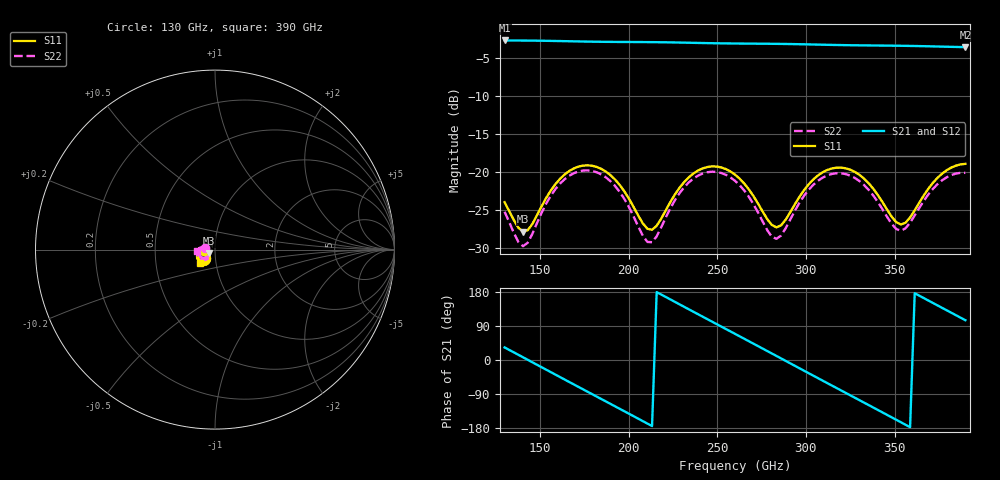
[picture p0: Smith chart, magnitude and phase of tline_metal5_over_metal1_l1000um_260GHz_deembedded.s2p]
! Created with skrf 2.0.1 (http://scikit-rf.org).
# GHz S DB R 50.0
!freq dBS11 angS11 dBS21 angS21 dBS12 angS12 dBS22 angS22
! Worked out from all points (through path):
!   101 points, 130 GHz to 390 GHz, reference 50 ohm
!   highest |S21| = -2.76 dB at 130 GHz (marker M1); lowest = -3.6 dB at 390 GHz (marker M2)
!   group delay of S21, straight-line fit = 6.92 ps
!   lowest |S11| = -27.8 dB at 140.4 GHz (marker M3), VSWR 1.08, Z = 46.5 - j1.85 ohm
!   |S11| at or under -10 dB: start of sweep to end of sweep
!   |S22| runs from -29.7 to -19.8 dB; largest |S21 - S12| = 8.3e-14
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130  -23.98 -174.9  -2.76 33.1  -2.76 33.1  -25.22 173.2
140.4  -27.84 -150.8  -2.78 7.2  -2.78 7.2  -29.74 -157.8
156  -22.46 -121.9  -2.82 -31.9  -2.82 -31.9  -23.14 -129.4
174.2  -19.17 -145.5  -2.90 -77.3  -2.90 -77.3  -19.82 -157.3
192.4  -21.02 -172.0  -2.96 -122.4  -2.96 -122.4  -21.87 172.9
210.6  -27.46 -156.9  -2.98 -167.8  -2.98 -167.8  -29.18 -170.8
218.4  -26.11 -129.2  -3.00 172.6  -3.00 172.6  -27.25 -140.0
228.8  -22.05 -124.3  -3.04 146.6  -3.04 146.6  -22.75 -137.9
241.8  -19.53 -139.5  -3.10 114.2  -3.10 114.2  -20.20 -156.1
260  -20.35 -165.6  -3.16 69.0  -3.16 69.0  -21.17 174.6
273  -24.15 -172.6  -3.19 36.6  -3.19 36.6  -25.32 165.8
283.4  -27.27 -147.6  -3.21 10.7  -3.21 10.7  -28.77 -166.1
293.8  -24.23 -122.2  -3.25 -15.4  -3.25 -15.4  -25.08 -140.6
304.2  -20.98 -125.8  -3.30 -41.4  -3.30 -41.4  -21.69 -146.8
314.6  -19.55 -138.6  -3.35 -67.2  -3.35 -67.2  -20.27 -161.8
325  -19.71 -153.1  -3.39 -93.1  -3.39 -93.1  -20.49 -177.9
335.4  -21.48 -164.4  -3.42 -118.9  -3.42 -118.9  -22.34 169.4
348.4  -25.87 -158.2  -3.45 -151.3  -3.45 -151.3  -26.81 174.9
356.2  -26.66 -132.3  -3.47 -170.8  -3.47 -170.8  -27.39 -160.1
366.6  -23.05 -115.0  -3.52 163.2  -3.52 163.2  -23.77 -146.2
379.6  -19.75 -123.8  -3.59 130.8  -3.59 130.8  -20.68 -158.5
390  -18.94 -136.8  -3.64 105.0  -3.64 105.0  -20.12 -174.4
